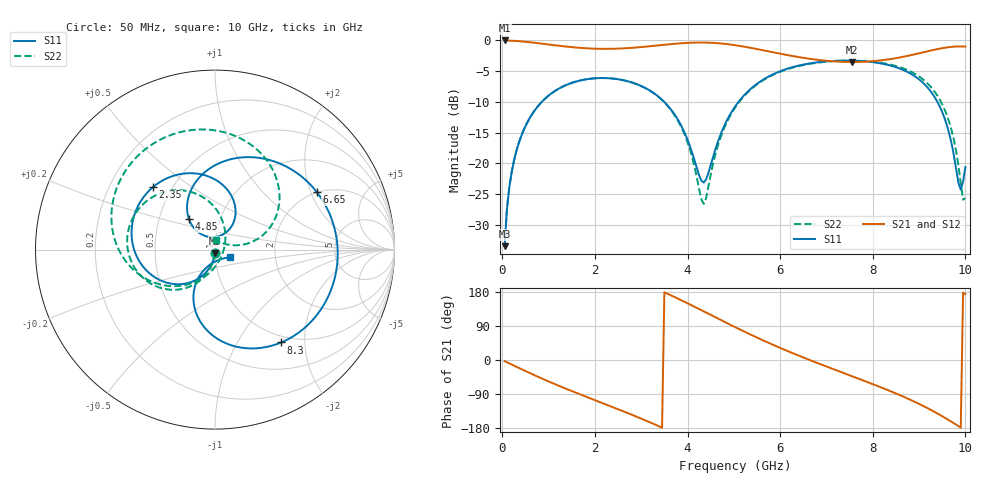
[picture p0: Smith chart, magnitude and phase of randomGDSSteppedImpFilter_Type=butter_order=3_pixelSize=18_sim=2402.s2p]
! freq	dB(S11)	phase(S11)	dB(S12)	phase(S12)
!  dB(S21)	phase(S21)	dB(S22)	phase(S22)
!S-par simulation data
#  GHz  S  DB  R 50
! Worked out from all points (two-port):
!   200 points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, 50 MHz to 10 GHz, reference 50 ohm
!   highest |S21| = -0.01 dB at 50 MHz (marker M1); lowest = -3.5 dB at 7.55 GHz (marker M2)
!   |S21| within 3 dB of the highest: start of sweep to 6.652 GHz; 8.41 GHz to end of sweep
!   lowest |S11| = -33.5 dB at 50 MHz (marker M3), VSWR 1.04, Z = 49.8 - j2.11 ohm
!   |S11| at or under -10 dB: start of sweep to 853.5 MHz; 3.496 GHz to 5.101 GHz (1.605 GHz wide, 37.3 % of centre); 9.395 GHz to end of sweep
!   |S22| runs from -33.5 to -3.3 dB; largest |S21 - S12| = 0
!   S11 on the Smith chart (normalised r, x): 50 MHz: 1.00, -0.04; 2.35 GHz: 0.39, +0.36; 4.85 GHz: 0.71, +0.25; 6.65 GHz: 1.97, +2.20; 8.3 GHz: 0.90, -1.56; 10 GHz: 1.18, -0.10
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0.05  -33.50 -93.2  -0.01 -3.0  -0.01 -3.0  -33.49 -92.7
0.2  -21.54 -103.2  -0.05 -11.8  -0.05 -11.8  -21.53 -101.1
0.5  -13.96 -122.2  -0.22 -29.1  -0.22 -29.1  -13.95 -117.1
1.1  -8.41 -157.9  -0.76 -61.8  -0.76 -61.8  -8.41 -146.7
1.75  -6.42 166.4  -1.25 -94.0  -1.25 -94.0  -6.41 -175.4
2.35  -6.19 134.8  -1.36 -122.6  -1.36 -122.6  -6.18 159.3
3.4  -9.33 78.6  -0.78 -175.8  -0.78 -175.8  -9.37 111.0
3.95  -15.25 55.0  -0.42 152.7  -0.42 152.7  -15.57 75.7
4.35  -23.13 96.3  -0.35 128.4  -0.35 128.4  -26.61 -20.9
4.85  -13.02 130.5  -0.60 97.5  -0.60 97.5  -13.30 -122.4
5.05  -10.52 121.3  -0.80 85.4  -0.80 85.4  -10.69 -135.9
5.9  -5.33 72.0  -2.01 37.2  -2.01 37.2  -5.42 -179.9
6.65  -3.73 29.7  -3.00 -0.6  -3.00 -0.6  -3.80 148.2
6.7  -3.67 27.0  -3.06 -3.0  -3.06 -3.0  -3.74 146.2
7.55  -3.29 -17.0  -3.52 -42.7  -3.52 -42.7  -3.29 112.3
8.3  -3.94 -54.5  -3.13 -78.2  -3.13 -78.2  -3.81 80.8
8.35  -4.03 -57.0  -3.08 -80.7  -3.08 -80.7  -3.88 78.5
8.95  -6.06 -88.3  -2.18 -112.9  -2.18 -112.9  -5.62 49.2
9.45  -10.81 -114.7  -1.33 -144.9  -1.33 -144.9  -9.70 21.7
9.7  -16.74 -119.8  -1.05 -163.0  -1.05 -163.0  -14.57 10.6
9.9  -24.28 -67.6  -0.98 -178.2  -0.98 -178.2  -23.25 25.5
10  -20.60 -27.6  -1.01 174.0  -1.01 174.0  -25.65 85.4
